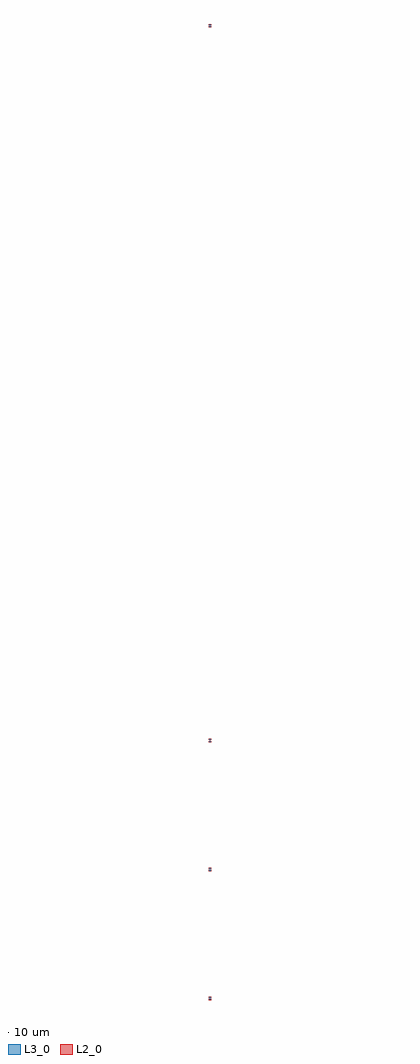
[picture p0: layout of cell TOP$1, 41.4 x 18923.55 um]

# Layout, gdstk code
import gdstk
lib = gdstk.Library(unit=1e-6, precision=1e-09)
def P(c, l, *ps):  # polygons
    for p in ps: c.add(gdstk.Polygon(p, *l))
L2_0 = (2, 0)
L3_0 = (3, 0)

q2gap = lib.new_cell('Q2GAP')
P(q2gap, L2_0, [(779.3,2253.3),(779.3,2274),(799.15,2284),(799.65,2284),(799.65,2286),(799.85,2286),(799.85,2284),(780,2274),(780,2254),(820,2254),(820,2274),(800.15,2284),(800.15,2286),(797.3,2286),(797.3,2286.15),(796.8,2286.15),(779.3,2296.15),(779.3,2316.15),(780,2316.15),(780,2296.15),(797.5,2286.15),(802.5,2286.15),(820,2296.15),(820,2316.15),(779.3,2316.15),(779.3,2316.85),(820.7,2316.85),(820.7,2296.15),(803.2,2286.15),(802.7,2286.15),(802.7,2286),(800.35,2286),(800.35,2284),(800.85,2284),(820.7,2274),(820.7,2253.3)],
  [(779.3,4753.3),(779.3,4774),(799.15,4784),(799.65,4784),(799.65,4786),(799.85,4786),(799.85,4784),(780,4774),(780,4754),(820,4754),(820,4774),(800.15,4784),(800.15,4786),(797.3,4786),(797.3,4786.15),(796.8,4786.15),(779.3,4796.15),(779.3,4816.15),(780,4816.15),(780,4796.15),(797.5,4786.15),(802.5,4786.15),(820,4796.15),(820,4816.15),(779.3,4816.15),(779.3,4816.85),(820.7,4816.85),(820.7,4796.15),(803.2,4786.15),(802.7,4786.15),(802.7,4786),(800.35,4786),(800.35,4784),(800.85,4784),(820.7,4774),(820.7,4753.3)],
  [(779.3,7253.3),(779.3,7274),(799.15,7284),(799.65,7284),(799.65,7286),(799.85,7286),(799.85,7284),(780,7274),(780,7254),(820,7254),(820,7274),(800.15,7284),(800.15,7286),(797.3,7286),(797.3,7286.15),(796.8,7286.15),(779.3,7296.15),(779.3,7316.15),(780,7316.15),(780,7296.15),(797.5,7286.15),(802.5,7286.15),(820,7296.15),(820,7316.15),(779.3,7316.15),(779.3,7316.85),(820.7,7316.85),(820.7,7296.15),(803.2,7286.15),(802.7,7286.15),(802.7,7286),(800.35,7286),(800.35,7284),(800.85,7284),(820.7,7274),(820.7,7253.3)],
  [(779.3,21113.3),(779.3,21134),(799.15,21144),(799.65,21144),(799.65,21146),(799.85,21146),(799.85,21144),(780,21134),(780,21114),(820,21114),(820,21134),(800.15,21144),(800.15,21146),(797.3,21146),(797.3,21146.15),(796.8,21146.15),(779.3,21156.15),(779.3,21176.15),(780,21176.15),(780,21156.15),(797.5,21146.15),(802.5,21146.15),(820,21156.15),(820,21176.15),(779.3,21176.15),(779.3,21176.85),(820.7,21176.85),(820.7,21156.15),(803.2,21146.15),(802.7,21146.15),(802.7,21146),(800.35,21146),(800.35,21144),(800.85,21144),(820.7,21134),(820.7,21113.3)])

q2pin = lib.new_cell('Q2PIN')
P(q2pin, L3_0, [(780,2254),(780,2274),(799.85,2284),(799.85,2286),(800.15,2286),(800.15,2284),(820,2274),(820,2254)],
  [(797.5,2286.15),(780,2296.15),(780,2316.15),(820,2316.15),(820,2296.15),(802.5,2286.15)],
  [(780,4754),(780,4774),(799.85,4784),(799.85,4786),(800.15,4786),(800.15,4784),(820,4774),(820,4754)],
  [(797.5,4786.15),(780,4796.15),(780,4816.15),(820,4816.15),(820,4796.15),(802.5,4786.15)],
  [(780,7254),(780,7274),(799.85,7284),(799.85,7286),(800.15,7286),(800.15,7284),(820,7274),(820,7254)],
  [(797.5,7286.15),(780,7296.15),(780,7316.15),(820,7316.15),(820,7296.15),(802.5,7286.15)],
  [(780,21114),(780,21134),(799.85,21144),(799.85,21146),(800.15,21146),(800.15,21144),(820,21134),(820,21114)],
  [(797.5,21146.15),(780,21156.15),(780,21176.15),(820,21176.15),(820,21156.15),(802.5,21146.15)])

c_q2 = lib.new_cell('Q2')

top_1 = lib.new_cell('TOP$1')
top_1.add(gdstk.Reference(q2gap, (0,0)))
top_1.add(gdstk.Reference(q2pin, (0,0)))
top_1.add(gdstk.Reference(c_q2, (0,0)))

lib.write_gds('TOP_1.gds')
